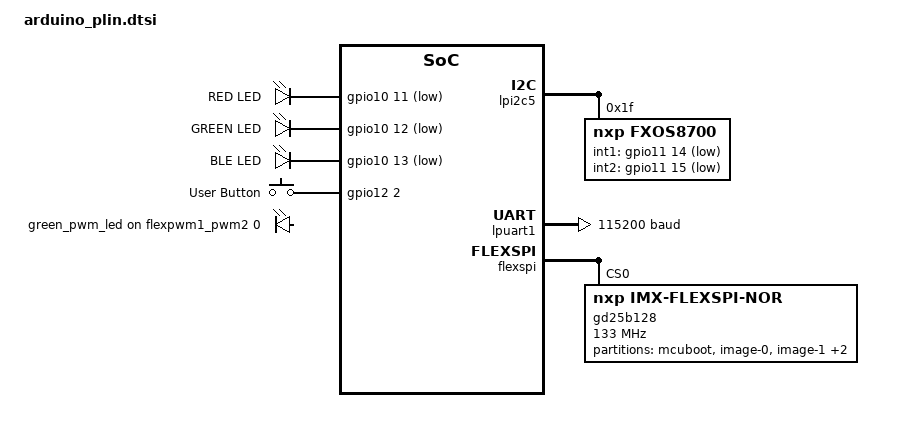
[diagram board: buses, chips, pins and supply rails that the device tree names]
/*
 * Copyright 2021,2023 NXP
 *
 * SPDX-License-Identifier: Apache-2.0
 */

#include "arduino_plin-pinctrl.dtsi"

/ {
	aliases {
		led0 = &green_led;
		led1 = &red_led;
		led2 = &blue_led;
		sw0 = &user_button;
		sdhc0 = &usdhc1;
		pwm-led0 = &green_pwm_led;
	};

	leds {
		compatible = "gpio-leds";
		red_led: led-1 {
			gpios = <&gpio10 11 GPIO_ACTIVE_LOW>;
			label = "RED LED";
		};

		green_led: led-2 {
			gpios = <&gpio10 12 GPIO_ACTIVE_LOW>;
			label = "GREEN LED";
		};

		blue_led: led-3 {
			gpios = <&gpio10 13 GPIO_ACTIVE_LOW>;
			label = "BLE LED";
		};
	};

	gpio_keys {
		compatible = "gpio-keys";
		user_button: button-1 {
			label = "User Button";
			gpios = <&gpio12 2 GPIO_ACTIVE_HIGH>;
		};
	};

	pwmleds {
		compatible = "pwm-leds";

		green_pwm_led: green_pwm_led {
			pwms = <&flexpwm1_pwm2 0 PWM_MSEC(20) PWM_POLARITY_NORMAL>;
		};
	};
};

&lpi2c5 {
	status = "okay";
	pinctrl-0 = <&pinmux_lpi2c5>;
	pinctrl-names = "default";

	fxos8700: fxos8700@1f {
		compatible = "nxp,fxos8700";
		reg = <0x1f>;

		/* Two zero ohm resistors (R256 and R270) isolate sensor
		 * interrupt gpios from the soc and are unpopulated by default.
		 * Note that if you populate them, they conflict with camera and
		 * ethernet PHY reset signals.
		 */
		int1-gpios = <&gpio11 14 GPIO_ACTIVE_LOW>;
		int2-gpios = <&gpio11 15 GPIO_ACTIVE_LOW>;
	};
};

&lpuart1 {
	status = "okay";
	pinctrl-0 = <&pinmux_lpuart1>;
	pinctrl-1 = <&pinmux_lpuart1_sleep>;
	pinctrl-names = "default", "sleep";
	current-speed = <115200>;
};

&lpuart2 {
	pinctrl-0 = <&pinmux_lpuart2>;
	pinctrl-1 = <&pinmux_lpuart2_sleep>;
	pinctrl-names = "default", "sleep";
};

&lpuart3 {
	pinctrl-0 = <&pinmux_lpuart3>;
	pinctrl-1 = <&pinmux_lpuart3_sleep>;
	pinctrl-names = "default", "sleep";
};

&user_button {
	status = "okay";
};

&green_led {
	status = "okay";
};

&red_led {
	status = "okay";
};

&blue_led {
	status = "okay";
};

&enet {
	pinctrl-0 = <&pinmux_enet>;
	pinctrl-names = "default";
	ptp {
		pinctrl-0 = <&pinmux_ptp>;
		pinctrl-names = "default";
	};
};

&flexcan3 {
	pinctrl-0 = <&pinmux_flexcan3>;
	pinctrl-names = "default";
};

&lcdif {
	pinctrl-0 = <&pinmux_lcdif>;
	pinctrl-names = "default";
};

&lpi2c1 {
	pinctrl-0 =<&pinmux_lpi2c1>;
	pinctrl-names = "default";
};

&lpspi1 {
	pinctrl-0 = <&pinmux_lpspi1>;
	pinctrl-names = "default";
};

&sai3 {
	pinctrl-0 = <&pinmux_sai3>;
	pinctrl-names = "default";
};

&lpadc0 {
	pinctrl-0 = <&pinmux_lpadc0>;
	pinctrl-names = "default";
};

&flexspi {
	pinctrl-0 = <&pinmux_flexspi1>;
	pinctrl-names = "default";
};

&usdhc1 {
	pinctrl-0 = <&pinmux_usdhc1>;
	pinctrl-names = "default";
};

&flexspi {
	status = "okay";
	ahb-prefetch;
	ahb-read-addr-opt;
	rx-clock-source = <1>;
	reg = <0x400cc000 0x4000>, <0x30000000 DT_SIZE_M(16)>;
	gd25b128: gd25b128@0 {
		compatible = "nxp,imx-flexspi-nor";
		size = <167772160>;
		reg = <0>;
		spi-max-frequency = <133000000>;
		status = "okay";
		jedec-id = [c8 40 18];
		erase-block-size = <4096>;
		write-block-size = <1>;

		partitions {
			compatible = "fixed-partitions";
			#address-cells = <1>;
			#size-cells = <1>;

			boot_partition: partition@0 {
				label = "mcuboot";
				reg = <0x00000000 DT_SIZE_K(128)>;
			};
			/* Note slot 0 has one additional sector,
			 * this is intended for use with the swap move algorithm
			 */
			slot0_partition: partition@10000 {
				label = "image-0";
				reg = <0x00010000 0x311000>;
			};
			slot1_partition: partition@321000 {
				label = "image-1";
				reg = <0x00321000 0x300000>;
			};
			scratch_partition: partition@621000 {
				label = "image-scratch";
				reg = <0x00621000 DT_SIZE_K(128)>;
			};
			storage_partition: partition@641000 {
				label = "storage";
				reg = <0x00641000 DT_SIZE_K(1856)>;
			};
		};
	};
};
